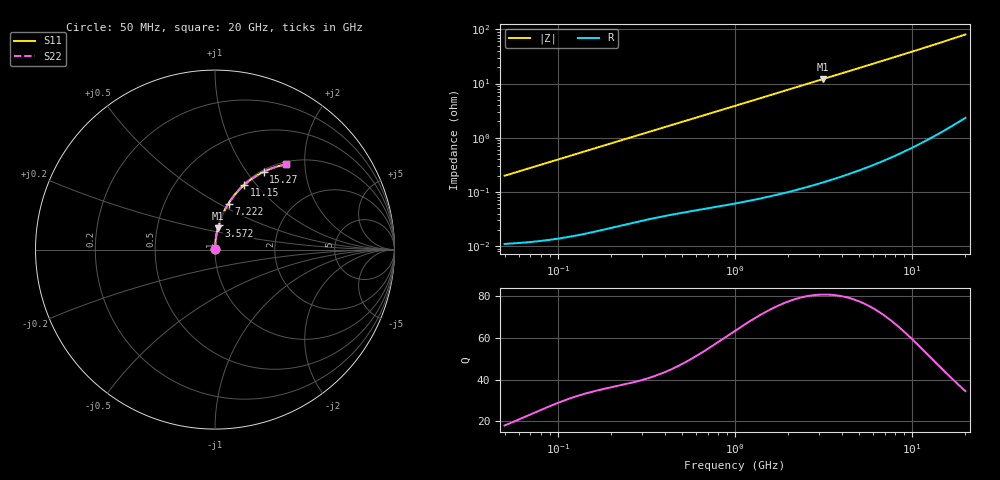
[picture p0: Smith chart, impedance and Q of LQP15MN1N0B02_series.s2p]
!Murata Part Number: LQP15MN1N0B02
!These Parameters are Measured in Series Mode Connection
!  o--[Z]--o
!Port1  Port2
!  o-------o
!Freq. Start=50[MHz] Stop=20[GHz], 401[Steps]
# Hz S RI R 50
!Freq.(Hz) S11(Real) S11(Imag) S21(Real) S21(Imag) S12(Real) S12(Imag) S22(Real) S22(Imag)
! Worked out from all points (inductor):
!   401 points, 50 MHz to 20 GHz, reference 50 ohm
!   read as one part in series: L = 634 pH near 51.52 MHz
!   highest Q = 80.6 at 3.122 GHz (marker M1), where L = 613 pH
!   S11 on the Smith chart (normalised r, x): 50 MHz: 1.00, +0.00; 3.572 GHz: 1.00, +0.28; 7.222 GHz: 1.01, +0.56; 11.15 GHz: 1.02, +0.87; 15.27 GHz: 1.03, +1.20; 20 GHz: 1.05, +1.61
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5e7  0.000114 0.00199  0.9999 -0.00199  0.9999 -0.00199  0.000114 0.00199
5.152053e7  0.000115 0.00205  0.9999 -0.00205  0.9999 -0.00205  0.000115 0.00205
1.364002e8  0.000194 0.00541  0.9998 -0.00541  0.9998 -0.00541  0.000194 0.00541
3.721004e8  0.000555 0.0146  0.9994 -0.0146  0.9994 -0.0146  0.000555 0.0146
6.380365e8  0.00109 0.0248  0.9989 -0.0248  0.9989 -0.0248  0.00109 0.0248
1e9  0.00211 0.0386  0.9979 -0.0386  0.9979 -0.0386  0.00211 0.0386
1.714689e9  0.00523 0.0658  0.9948 -0.0658  0.9948 -0.0658  0.00523 0.0658
2.728004e9  0.0122 0.1037  0.9878 -0.1037  0.9878 -0.1037  0.0122 0.1037
3.121702e9  0.0157 0.1182  0.9843 -0.1182  0.9843 -0.1182  0.0157 0.1182
3.572216e9  0.0202 0.1346  0.9798 -0.1346  0.9798 -0.1346  0.0202 0.1346
4.34015e9  0.0291 0.1619  0.9709 -0.1619  0.9709 -0.1619  0.0291 0.1619
5.273168e9  0.042 0.1941  0.958 -0.1941  0.958 -0.1941  0.042 0.1941
6.217679e9  0.0571 0.2253  0.9429 -0.2253  0.9429 -0.2253  0.0571 0.2253
7.222371e9  0.0753 0.2567  0.9247 -0.2567  0.9247 -0.2567  0.0753 0.2567
7.442007e9  0.0795 0.2634  0.9205 -0.2634  0.9205 -0.2634  0.0795 0.2634
9.178299e9  0.116 0.3124  0.884 -0.3124  0.884 -0.3124  0.116 0.3124
1.115139e10  0.1628 0.3603  0.8372 -0.3603  0.8372 -0.3603  0.1628 0.3603
1.314879e10  0.214 0.4001  0.786 -0.4001  0.786 -0.4001  0.214 0.4001
1.527346e10  0.2706 0.433  0.7294 -0.433  0.7294 -0.433  0.2706 0.433
1.774144e10  0.3367 0.4598  0.6633 -0.4598  0.6633 -0.4598  0.3367 0.4598
1.940974e10  0.3806 0.4717  0.6194 -0.4717  0.6194 -0.4717  0.3806 0.4717
2e10  0.3959 0.4748  0.6041 -0.4748  0.6041 -0.4748  0.3959 0.4748
